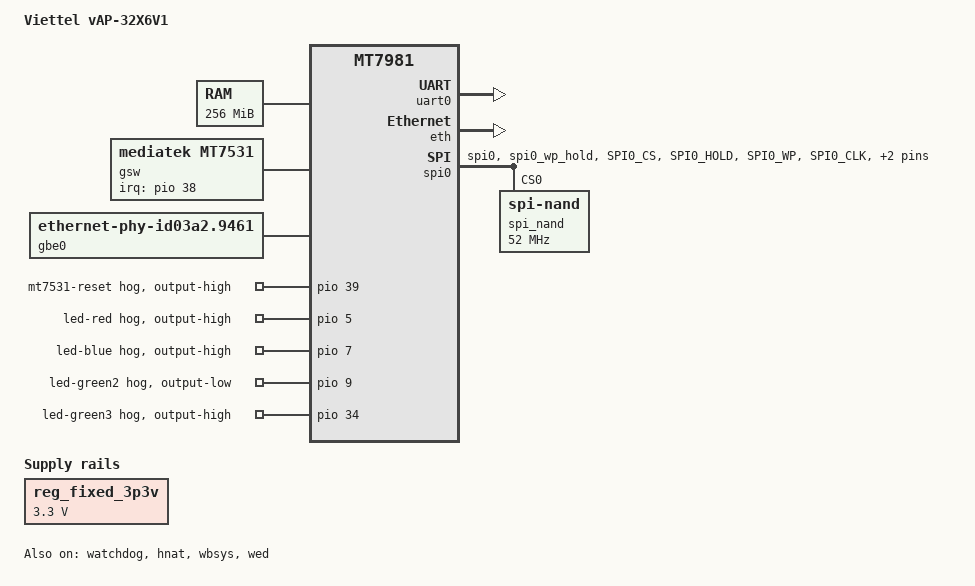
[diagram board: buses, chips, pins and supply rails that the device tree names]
/dts-v1/;
#include <dt-bindings/gpio/gpio.h>
#include <dt-bindings/pinctrl/mt65xx.h>
#include <mediatek/mt7981.dtsi>
/*
 * KeeneticOS (KN-3812 build) on the Viettel vAP-32X6V1: KN-3812 DTS with
 * 256 MiB RAM, no NMBM (the NAND is shared with OpenWrt's UBI), no USB,
 * /chosen/dualimage for ndm, ramoops for debugging, and the 32x6 GPIOs
 * (MT7531 reset, LED pins phr.ko does not drive) put in a safe state.
 */
/ {
	model = "Viettel vAP-32X6V1";
	compatible = "keenetic,kn-3812", "mediatek,mt7981";

	chosen {
		bootargs = "console=ttyS0,115200n1 loglevel=8 panic=5 earlycon=uart8250,mmio32,0x11002000";
		/* KeenBOOT adds this; without it ndmpart creates no
		 * /proc/dual_image and ndm exits. Read with of_property_read_u8,
		 * so it must be one byte. */
		dualimage = [01];
	};

	memory@40000000 {
		device_type = "memory";
		reg = <0 0x40000000 0 0x10000000>;
	};

	/* Console log kept in RAM across a warm reboot (U-Boot relocates to
	 * the top of RAM, so this stays below it) */
	reserved-memory {
		#address-cells = <2>;
		#size-cells = <2>;
		ranges;

		ramoops@4e000000 {
			compatible = "ramoops";
			reg = <0 0x4e000000 0 0x100000>;
			record-size = <0x20000>;
			console-size = <0x80000>;
			ecc-size = <0>;
		};
	};

	gsw: gsw-sgmii0 {
		compatible = "mediatek,mt7531";
		#address-cells = <1>;
		#size-cells = <0>;
		mediatek,ethsys = <&ethsys>;
	};

	gbe0: gbe-gmii1 {
		compatible = "ethernet-phy-id03a2.9461";
		#address-cells = <1>;
		#size-cells = <0>;
		reg = <0>;
		nvmem-cells = <&phy_calibration>;
		nvmem-cell-names = "phy-cal-data";
	};

	reg_fixed_3p3v: regulator-3p3v {
		compatible = "regulator-fixed";
		regulator-name = "fixed-3.3V";
		regulator-min-microvolt = <3300000>;
		regulator-max-microvolt = <3300000>;
		regulator-always-on;
	};
};

&uart0 {
	status = "okay";
};

&watchdog {
	status = "okay";
};

&gsw {
	interrupt-parent = <&pio>;
	interrupts = <38 IRQ_TYPE_LEVEL_HIGH>;
	status = "okay";
};

&eth {
	mediatek,gsw = <&gsw>;
	mediatek,phy = <&gbe0>;
	status = "okay";
};

&hnat {
	eth-max-gmac = <2>;
	status = "okay";
};

&spi0 {
	pinctrl-names = "default";
	pinctrl-0 = <&spi0_flash_pins>;
	status = "okay";

	spi_nand: spi_nand@0 {
		compatible = "spi-nand";
		reg = <0>;
		spi-max-frequency = <52000000>;
		spi-tx-bus-width = <4>;
		spi-rx-bus-width = <4>;
	};
};

&wbsys {
	status = "okay";
};

&wed {
	wdma_rx_ring_depth = <1024>;
	wdma_tx_ring_depth = <1024>;
	status = "okay";
};

&wed_pcie {
	status = "disabled";
};

&pio {
	/* The 32x6 has no external pull-up on the buttons (WPS/mesh GPIO 0,
	 * RESET GPIO 1, both active-low): without the internal one a cold boot
	 * can read RESET as pressed, and phr.ko then makes ndm reset the
	 * configuration to factory defaults and reboot, every boot. Applied when
	 * the pinctrl driver probes, before phr.ko loads. */
	pinctrl-names = "default";
	pinctrl-0 = <&button_pins>;

	button_pins: button-pins {
		conf {
			pins = "GPIO_WPS", "GPIO_RESET";
			mediatek,pull-up-adv = <3>;	/* pull-up 75k */
		};
	};

	/* MT7531 reset (high = running); phr.ko also drives it high (binpatch) */
	mt7531-reset-hog {
		gpio-hog;
		gpios = <39 GPIO_ACTIVE_HIGH>;
		output-high;
		line-name = "mt7531-reset";
	};

	/* RGB status LED: phr.ko drives green (GPIO 8) and red (GPIO 5) as the
	 * KN-3812 green/orange LED; start with red and blue off */
	led-red-hog {
		gpio-hog;
		gpios = <5 GPIO_ACTIVE_HIGH>;
		output-high;
		line-name = "led-red";
	};

	led-blue-hog {
		gpio-hog;
		gpios = <7 GPIO_ACTIVE_HIGH>;
		output-high;
		line-name = "led-blue";
	};

	/* GPIO 9 (lit when high) and GPIO 34 (lit when low) also light green */
	led-green2-hog {
		gpio-hog;
		gpios = <9 GPIO_ACTIVE_HIGH>;
		output-low;
		line-name = "led-green2";
	};

	led-green3-hog {
		gpio-hog;
		gpios = <34 GPIO_ACTIVE_HIGH>;
		output-high;
		line-name = "led-green3";
	};

	spi0_flash_pins: spi0-pins-16-to-21 {
		mux {
			function = "spi";
			groups = "spi0", "spi0_wp_hold";
		};

		conf-pu {
			pins = "SPI0_CS", "SPI0_HOLD", "SPI0_WP";
			drive-strength = <MTK_DRIVE_8mA>;
			mediatek,pull-up-adv = <3>;	/* pull-up 75k */
		};

		conf-pd {
			pins = "SPI0_CLK", "SPI0_MOSI", "SPI0_MISO";
			drive-strength = <MTK_DRIVE_8mA>;
			mediatek,pull-down-adv = <3>;	/* pull-down 75k */
		};
	};
};
